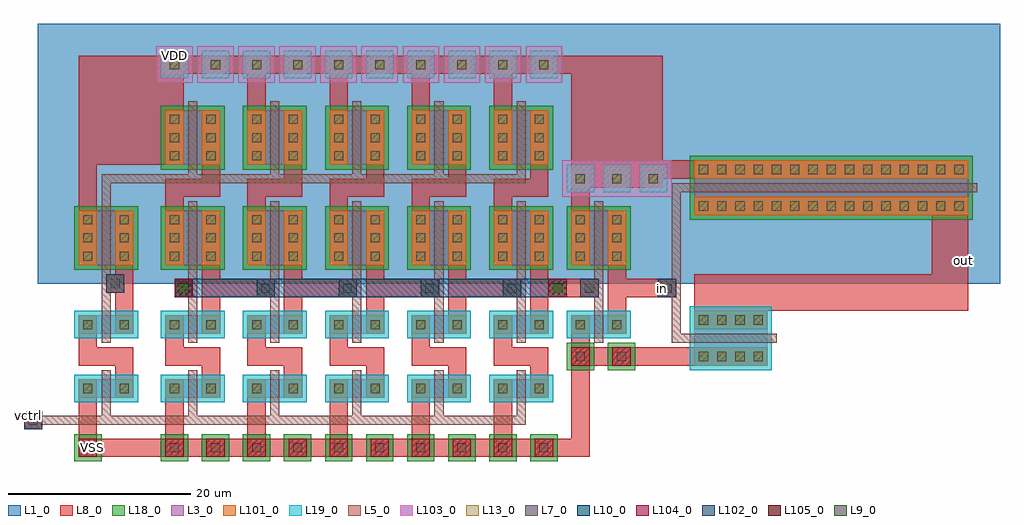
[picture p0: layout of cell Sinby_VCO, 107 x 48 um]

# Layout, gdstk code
import gdstk
lib = gdstk.Library(unit=1e-6, precision=1e-09)
def R(c, l, rs):  # rectangles x0, y0, x1, y1
    for r in rs: c.add(gdstk.rectangle(r[:2], r[2:], *l))
def A(c, l, x, y, w, h, nx, ny, dx, dy):  # array of equal rectangles
    R(c, l, [(x+i*dx, y+j*dy, x+i*dx+w, y+j*dy+h) for i in range(nx) for j in range(ny)])
def P(c, l, *ps):  # polygons
    for p in ps: c.add(gdstk.Polygon(p, *l))
L1_0 = (1, 0)
L3_0 = (3, 0)
L5_0 = (5, 0)
L7_0 = (7, 0)
L8_0 = (8, 0)
L9_0 = (9, 0)
L10_0 = (10, 0)
L13_0 = (13, 0)
L18_0 = (18, 0)
L19_0 = (19, 0)
L101_0 = (101, 0)
L102_0 = (102, 0)
L103_0 = (103, 0)
L104_0 = (104, 0)
L105_0 = (105, 0)

dcont = lib.new_cell('dcont')
R(dcont, L3_0, [(-1,-1,1,1)])
R(dcont, L7_0, [(-0.5,-0.5,0.5,0.5)])
R(dcont, L8_0, [(-1,-1,1,1)])
R(dcont, L13_0, [(-0.5,-0.5,0.5,0.5)])
R(dcont, L101_0, [(-1,-1,1,1)])

dcont1 = lib.new_cell('dcont1')
R(dcont1, L3_0, [(-1,-1,1,1)])
R(dcont1, L7_0, [(-0.5,-0.5,0.5,0.5)])
R(dcont1, L8_0, [(-1,-1,1,1)])
R(dcont1, L13_0, [(-0.5,-0.5,0.5,0.5)])
R(dcont1, L101_0, [(-1,-1,1,1)])

nsubcont = lib.new_cell('nsubcont')
R(nsubcont, L1_0, [(-2,-2,2,2)])
R(nsubcont, L19_0, [(-1.5,-1.5,1.5,1.5)])
R(nsubcont, L103_0, [(-2,-2,2,2)])
nsubcont.add(gdstk.Reference(dcont1, (0,0)))

psubcont = lib.new_cell('psubcont')
R(psubcont, L18_0, [(-1.5,-1.5,1.5,1.5)])
R(psubcont, L104_0, [(-1,-1,1,1)])
psubcont.add(gdstk.Reference(dcont1, (0,0)))

pcont = lib.new_cell('pcont')
R(pcont, L5_0, [(-1,-1,1,1)])
R(pcont, L7_0, [(-0.5,-0.5,0.5,0.5)])
R(pcont, L8_0, [(-1,-1,1,1)])
R(pcont, L13_0, [(-0.5,-0.5,0.5,0.5)])
R(pcont, L102_0, [(-1,-1,1,1)])

via = lib.new_cell('Via')
R(via, L8_0, [(-1,-1,1,1)])
R(via, L9_0, [(-0.5,-0.5,0.5,0.5)])
R(via, L10_0, [(-1,-1,1,1)])
R(via, L13_0, [(-0.5,-0.5,0.5,0.5)])
R(via, L105_0, [(-1,-1,1,1)])

sinby_vco = lib.new_cell('Sinby_VCO')
R(sinby_vco, L1_0, [(-15.5,-4,90,24.5)])
A(sinby_vco, L3_0, 0.5, -16.5, 2, 2, 5, 2, 9, 7)
A(sinby_vco, L3_0, 0.5, -2, 2, 6, 5, 2, 9, 11)
R(sinby_vco, L3_0, [(-9,-16.5,-7,-14.5), (56.5,-11,64.5,-9), (-9,-9.5,-7,-7.5), (45,-9.5,47,-7.5), (-9,-2,-7,4), (45,-2,47,4)])
P(sinby_vco, L3_0, [(56.5,5.5),(56.5,7.5),(86.5,7.5),(86.5,6.5),(86.5,5.5)])
A(sinby_vco, L8_0, 2.5, -7.5, 2, 1, 5, 1, 9, 0)
A(sinby_vco, L8_0, 2.5, -6.5, 2, 4.5, 5, 1, 9, 0)
A(sinby_vco, L8_0, -1.5, 4, 2, 2.5, 5, 1, 9, 0)
R(sinby_vco, L8_0, [(-7,-14.5,-5,-13.5), (11.5,-14.5,13.5,-13.5), (29.5,-14.5,31.5,-13.5), (43,-11,45,-9.5), (-7,-7.5,-5,-6.5), (47,-7.5,49,-6.5), (47,-6.5,49,-2), (43,4,45,6.5), (43,6.5,53,21), (-11,9,0.5,21)])
A(sinby_vco, L18_0, -2, -2.5, 7, 7, 5, 2, 9, 11)
R(sinby_vco, L18_0, [(-11.5,-2.5,-4.5,4.5), (42.5,-2.5,49.5,4.5), (56,3,87,10)])
A(sinby_vco, L19_0, -2, -17, 7, 3, 5, 2, 9, 7)
R(sinby_vco, L19_0, [(-11.5,-17,-4.5,-14), (56,-13.5,65,-6.5), (-11.5,-10,-4.5,-7), (42.5,-10,49.5,-7)])
sinby_vco.add(gdstk.FlexPath([(3.5,9),(3.5,6.5),(-1.5,6.5)], 2, ends="flush", simple_path=True, layer=8, datatype=0))  # L8_0
sinby_vco.add(gdstk.FlexPath([(-0.5,19),(-0.5,15)], 2, ends="flush", simple_path=True, layer=8, datatype=0))  # L8_0
sinby_vco.add(gdstk.FlexPath([(-10,4),(-10,20),(-5.5,20),(-2.5,20)], 2, ends="flush", simple_path=True, layer=8, datatype=0))  # L8_0
sinby_vco.add(gdstk.FlexPath([(-6,-2),(-6,-6.5)], 2, ends="flush", simple_path=True, layer=8, datatype=0))  # L8_0
sinby_vco.add(gdstk.FlexPath([(-10,-9.5),(-10,-12),(-6,-12),(-6,-13.5)], 2, ends="flush", simple_path=True, layer=8, datatype=0))  # L8_0
sinby_vco.add(gdstk.FlexPath([(-10,-16.5),(-10,-21)], 2, ends="flush", simple_path=True, layer=8, datatype=0))  # L8_0
sinby_vco.add(gdstk.FlexPath([(-0.5,-16.5),(-0.5,-21)], 2, ends="flush", simple_path=True, layer=8, datatype=0))  # L8_0
sinby_vco.add(gdstk.FlexPath([(-0.5,-9.5),(-0.5,-12),(3.5,-12),(3.5,-14.5)], 2, ends="flush", simple_path=True, layer=8, datatype=0))  # L8_0
sinby_vco.add(gdstk.FlexPath([(8.5,19),(8.5,15)], 2, ends="flush", simple_path=True, layer=8, datatype=0))  # L8_0
sinby_vco.add(gdstk.FlexPath([(17.5,19),(17.5,15)], 2, ends="flush", simple_path=True, layer=8, datatype=0))  # L8_0
sinby_vco.add(gdstk.FlexPath([(12.5,9),(12.5,6.5),(7.5,6.5)], 2, ends="flush", simple_path=True, layer=8, datatype=0))  # L8_0
sinby_vco.add(gdstk.FlexPath([(21.5,9),(21.5,6.5),(16.5,6.5)], 2, ends="flush", simple_path=True, layer=8, datatype=0))  # L8_0
sinby_vco.add(gdstk.FlexPath([(26.5,19),(26.5,15)], 2, ends="flush", simple_path=True, layer=8, datatype=0))  # L8_0
sinby_vco.add(gdstk.FlexPath([(35.5,19),(35.5,15)], 2, ends="flush", simple_path=True, layer=8, datatype=0))  # L8_0
sinby_vco.add(gdstk.FlexPath([(-0.5,20),(51,20),(52,19.5),(52,8.5)], 2, ends="flush", simple_path=True, layer=8, datatype=0))  # L8_0
sinby_vco.add(gdstk.FlexPath([(26.5,-9.5),(26.5,-12),(30.5,-12),(30.5,-13.5)], 2, ends="flush", simple_path=True, layer=8, datatype=0))  # L8_0
sinby_vco.add(gdstk.FlexPath([(26.5,-16.5),(26.5,-21)], 2, ends="flush", simple_path=True, layer=8, datatype=0))  # L8_0
sinby_vco.add(gdstk.FlexPath([(35.5,-16.5),(35.5,-21)], 2, ends="flush", simple_path=True, layer=8, datatype=0))  # L8_0
sinby_vco.add(gdstk.FlexPath([(35.5,-9.5),(35.5,-12),(39.5,-12),(39.5,-14.5)], 2, ends="flush", simple_path=True, layer=8, datatype=0))  # L8_0
sinby_vco.add(gdstk.FlexPath([(8.5,-9.5),(8.5,-12),(12.5,-12),(12.5,-13.5)], 2, ends="flush", simple_path=True, layer=8, datatype=0))  # L8_0
sinby_vco.add(gdstk.FlexPath([(8.5,-16.5),(8.5,-21)], 2, ends="flush", simple_path=True, layer=8, datatype=0))  # L8_0
sinby_vco.add(gdstk.FlexPath([(17.5,-16.5),(17.5,-21)], 2, ends="flush", simple_path=True, layer=8, datatype=0))  # L8_0
sinby_vco.add(gdstk.FlexPath([(17.5,-9.5),(17.5,-12),(21.5,-12),(21.5,-14.5)], 2, ends="flush", simple_path=True, layer=8, datatype=0))  # L8_0
sinby_vco.add(gdstk.FlexPath([(-9,-22),(44,-22),(44,-12),(53.5,-12),(53.5,-12),(53.5,-12)], 2, ends="flush", simple_path=True, layer=8, datatype=0))  # L8_0
sinby_vco.add(gdstk.FlexPath([(30.5,9),(30.5,6.5),(25.5,6.5)], 2, ends="flush", simple_path=True, layer=8, datatype=0))  # L8_0
sinby_vco.add(gdstk.FlexPath([(39.5,9),(39.5,6.5),(34.5,6.5)], 2, ends="flush", simple_path=True, layer=8, datatype=0))  # L8_0
sinby_vco.add(gdstk.FlexPath([(49,-4.5),(52.5,-4.5)], 2, ends="flush", simple_path=True, layer=8, datatype=0))  # L8_0
sinby_vco.add(gdstk.FlexPath([(56.5,8.5),(51,8.5)], 2, ends="flush", simple_path=True, layer=8, datatype=0))  # L8_0
sinby_vco.add(gdstk.FlexPath([(53.5,-12),(56.5,-12)], 2, ends="flush", simple_path=True, layer=8, datatype=0))  # L8_0
sinby_vco.add(gdstk.FlexPath([(84.5,3.5),(84.5,-5),(56.5,-5)], 4, ends="flush", simple_path=True, layer=8, datatype=0))  # L8_0
sinby_vco.add(gdstk.FlexPath([(4.5,-4.5),(8.5,-4.5)], 2, ends="flush", simple_path=True, layer=8, datatype=0))  # L8_0
sinby_vco.add(gdstk.FlexPath([(13.5,-4.5),(17.5,-4.5)], 2, ends="flush", simple_path=True, layer=8, datatype=0))  # L8_0
sinby_vco.add(gdstk.FlexPath([(22.5,-4.5),(26.5,-4.5)], 2, ends="flush", simple_path=True, layer=8, datatype=0))  # L8_0
sinby_vco.add(gdstk.FlexPath([(31.5,-4.5),(35.5,-4.5)], 2, ends="flush", simple_path=True, layer=8, datatype=0))  # L8_0
sinby_vco.add(gdstk.FlexPath([(42.5,-4.5),(44,-4.5)], 2, ends="flush", simple_path=True, layer=8, datatype=0))  # L8_0
sinby_vco.add(gdstk.FlexPath([(1.5,-4.5),(40.5,-4.5),(40.5,-4.5)], 2, ends="flush", simple_path=True, layer=10, datatype=0))  # L10_0
sinby_vco.add(gdstk.FlexPath([(1.5,16),(1.5,8)], 1, ends="flush", simple_path=True, layer=5, datatype=0))  # L5_0
sinby_vco.add(gdstk.FlexPath([(-8,5),(-8,-3)], 1, ends="flush", simple_path=True, layer=5, datatype=0))  # L5_0
sinby_vco.add(gdstk.FlexPath([(-8,5),(-8,7.5),(38,7.5)], 1, ends="flush", simple_path=True, layer=5, datatype=0))  # L5_0
sinby_vco.add(gdstk.FlexPath([(-8,-3),(-8,-10.5)], 1, ends="flush", simple_path=True, layer=5, datatype=0))  # L5_0
sinby_vco.add(gdstk.FlexPath([(-8,-13.5),(-8,-19),(-15.5,-19)], 1, ends="flush", simple_path=True, layer=5, datatype=0))  # L5_0
sinby_vco.add(gdstk.FlexPath([(-7.5,-19),(1.5,-19),(1.5,-13.5)], 1, ends="flush", simple_path=True, layer=5, datatype=0))  # L5_0
sinby_vco.add(gdstk.FlexPath([(10.5,16),(10.5,8)], 1, ends="flush", simple_path=True, layer=5, datatype=0))  # L5_0
sinby_vco.add(gdstk.FlexPath([(19.5,16),(19.5,8)], 1, ends="flush", simple_path=True, layer=5, datatype=0))  # L5_0
sinby_vco.add(gdstk.FlexPath([(28.5,16),(28.5,8)], 1, ends="flush", simple_path=True, layer=5, datatype=0))  # L5_0
sinby_vco.add(gdstk.FlexPath([(37.5,16),(37.5,8)], 1, ends="flush", simple_path=True, layer=5, datatype=0))  # L5_0
sinby_vco.add(gdstk.FlexPath([(29,-19),(37.5,-19),(37.5,-13.5)], 1, ends="flush", simple_path=True, layer=5, datatype=0))  # L5_0
sinby_vco.add(gdstk.FlexPath([(11,-19),(19.5,-19),(19.5,-13.5)], 1, ends="flush", simple_path=True, layer=5, datatype=0))  # L5_0
sinby_vco.add(gdstk.FlexPath([(10.5,-13.5),(10.5,-19),(2,-19)], 1, ends="flush", simple_path=True, layer=5, datatype=0))  # L5_0
sinby_vco.add(gdstk.FlexPath([(28.5,-13.5),(28.5,-19),(20,-19)], 1, ends="flush", simple_path=True, layer=5, datatype=0))  # L5_0
sinby_vco.add(gdstk.FlexPath([(87.5,6.5),(54.5,6.5),(54.5,-6.5)], 1, ends="flush", simple_path=True, layer=5, datatype=0))  # L5_0
sinby_vco.add(gdstk.FlexPath([(54.5,-6.5),(54.5,-10),(65.5,-10)], 1, ends="flush", simple_path=True, layer=5, datatype=0))  # L5_0
sinby_vco.add(gdstk.FlexPath([(10.5,5),(10.5,-3)], 1, ends="flush", simple_path=True, layer=5, datatype=0))  # L5_0
sinby_vco.add(gdstk.FlexPath([(10.5,-6.5),(10.5,-10.5)], 1, ends="flush", simple_path=True, layer=5, datatype=0))  # L5_0
sinby_vco.add(gdstk.FlexPath([(10.5,-3),(10.5,-6.5)], 1, ends="flush", simple_path=True, layer=5, datatype=0))  # L5_0
sinby_vco.add(gdstk.FlexPath([(19.5,-3),(19.5,-6.5)], 1, ends="flush", simple_path=True, layer=5, datatype=0))  # L5_0
sinby_vco.add(gdstk.FlexPath([(19.5,-6.5),(19.5,-10.5)], 1, ends="flush", simple_path=True, layer=5, datatype=0))  # L5_0
sinby_vco.add(gdstk.FlexPath([(19.5,5),(19.5,-3)], 1, ends="flush", simple_path=True, layer=5, datatype=0))  # L5_0
sinby_vco.add(gdstk.FlexPath([(28.5,-3),(28.5,-6.5)], 1, ends="flush", simple_path=True, layer=5, datatype=0))  # L5_0
sinby_vco.add(gdstk.FlexPath([(28.5,-6.5),(28.5,-10.5)], 1, ends="flush", simple_path=True, layer=5, datatype=0))  # L5_0
sinby_vco.add(gdstk.FlexPath([(28.5,5),(28.5,-3)], 1, ends="flush", simple_path=True, layer=5, datatype=0))  # L5_0
sinby_vco.add(gdstk.FlexPath([(37.5,-3),(37.5,-6.5)], 1, ends="flush", simple_path=True, layer=5, datatype=0))  # L5_0
sinby_vco.add(gdstk.FlexPath([(37.5,-6.5),(37.5,-10.5)], 1, ends="flush", simple_path=True, layer=5, datatype=0))  # L5_0
sinby_vco.add(gdstk.FlexPath([(37.5,5),(37.5,-3)], 1, ends="flush", simple_path=True, layer=5, datatype=0))  # L5_0
sinby_vco.add(gdstk.FlexPath([(46,5),(46,-3)], 1, ends="flush", simple_path=True, layer=5, datatype=0))  # L5_0
sinby_vco.add(gdstk.FlexPath([(46,-6.5),(46,-10.5)], 1, ends="flush", simple_path=True, layer=5, datatype=0))  # L5_0
sinby_vco.add(gdstk.FlexPath([(46,-3),(46,-6.5)], 1, ends="flush", simple_path=True, layer=5, datatype=0))  # L5_0
sinby_vco.add(gdstk.FlexPath([(1.5,5),(1.5,-3)], 1, ends="flush", simple_path=True, layer=5, datatype=0))  # L5_0
sinby_vco.add(gdstk.FlexPath([(1.5,-6.5),(1.5,-10.5)], 1, ends="flush", simple_path=True, layer=5, datatype=0))  # L5_0
sinby_vco.add(gdstk.FlexPath([(1.5,-3),(1.5,-6.5)], 1, ends="flush", simple_path=True, layer=5, datatype=0))  # L5_0
sinby_vco.add(gdstk.Reference(dcont, (48,-1)))
sinby_vco.add(gdstk.Reference(dcont, (44,-1)))
sinby_vco.add(gdstk.Reference(nsubcont, (35.5,20)))
sinby_vco.add(gdstk.Reference(dcont, (8.5,-1)))
sinby_vco.add(gdstk.Reference(dcont, (12.5,-1)))
sinby_vco.add(gdstk.Reference(dcont, (21.5,-1)))
sinby_vco.add(gdstk.Reference(dcont, (17.5,-1)))
sinby_vco.add(gdstk.Reference(dcont, (30.5,-1)))
sinby_vco.add(gdstk.Reference(dcont, (26.5,-1)))
sinby_vco.add(gdstk.Reference(dcont, (39.5,-1)))
sinby_vco.add(gdstk.Reference(dcont, (35.5,-1)))
sinby_vco.add(gdstk.Reference(dcont, (35.5,1)))
sinby_vco.add(gdstk.Reference(dcont, (35.5,3)))
sinby_vco.add(gdstk.Reference(psubcont, (35.5,-22)))
sinby_vco.add(gdstk.Reference(dcont, (35.5,-8.5)))
sinby_vco.add(gdstk.Reference(dcont, (3.5,-1)))
sinby_vco.add(gdstk.Reference(dcont, (-0.5,-1)))
sinby_vco.add(gdstk.Reference(dcont, (-6,-1)))
sinby_vco.add(gdstk.Reference(dcont, (-10,-1)))
sinby_vco.add(gdstk.Reference(dcont, (35.5,14)))
sinby_vco.add(gdstk.Reference(dcont, (35.5,12)))
sinby_vco.add(gdstk.Reference(dcont, (35.5,10)))
sinby_vco.add(gdstk.Reference(dcont, (35.5,-15.5)))
sinby_vco.add(gdstk.Reference(dcont, (71.5,4.5)))
sinby_vco.add(gdstk.Reference(dcont, (73.5,8.5)))
sinby_vco.add(gdstk.Reference(dcont, (73.5,4.5)))
sinby_vco.add(gdstk.Reference(dcont, (75.5,8.5)))
sinby_vco.add(gdstk.Reference(dcont, (75.5,4.5)))
sinby_vco.add(gdstk.Reference(dcont, (77.5,8.5)))
sinby_vco.add(gdstk.Reference(dcont, (77.5,4.5)))
sinby_vco.add(gdstk.Reference(dcont, (79.5,8.5)))
sinby_vco.add(gdstk.Reference(dcont, (79.5,4.5)))
sinby_vco.add(gdstk.Reference(dcont, (81.5,8.5)))
sinby_vco.add(gdstk.Reference(dcont, (81.5,4.5)))
sinby_vco.add(gdstk.Reference(dcont, (83.5,8.5)))
sinby_vco.add(gdstk.Reference(dcont, (83.5,4.5)))
sinby_vco.add(gdstk.Reference(dcont, (85.5,8.5)))
sinby_vco.add(gdstk.Reference(dcont, (85.5,4.5)))
sinby_vco.add(gdstk.Reference(dcont, (57.5,4.5)))
sinby_vco.add(gdstk.Reference(dcont, (48,3)))
sinby_vco.add(gdstk.Reference(nsubcont, (40,20)))
sinby_vco.add(gdstk.Reference(dcont, (44,3)))
sinby_vco.add(gdstk.Reference(dcont, (44,1)))
sinby_vco.add(gdstk.Reference(dcont, (48,1)))
sinby_vco.add(gdstk.Reference(nsubcont, (48,7.5)))
sinby_vco.add(gdstk.Reference(nsubcont, (44,7.5)))
sinby_vco.add(gdstk.Reference(dcont, (63.5,4.5)))
sinby_vco.add(gdstk.Reference(dcont, (59.5,4.5)))
sinby_vco.add(gdstk.Reference(dcont, (39.5,1)))
sinby_vco.add(gdstk.Reference(dcont, (39.5,3)))
sinby_vco.add(gdstk.Reference(dcont, (67.5,8.5)))
sinby_vco.add(gdstk.Reference(dcont, (65.5,8.5)))
sinby_vco.add(gdstk.Reference(dcont, (63.5,8.5)))
sinby_vco.add(gdstk.Reference(dcont, (65.5,4.5)))
sinby_vco.add(gdstk.Reference(dcont, (61.5,4.5)))
sinby_vco.add(gdstk.Reference(dcont, (61.5,8.5)))
sinby_vco.add(gdstk.Reference(dcont, (59.5,8.5)))
sinby_vco.add(gdstk.Reference(dcont, (67.5,4.5)))
sinby_vco.add(gdstk.Reference(dcont, (57.5,8.5)))
sinby_vco.add(gdstk.Reference(nsubcont, (52,7.5)))
sinby_vco.add(gdstk.Reference(dcont, (69.5,8.5)))
sinby_vco.add(gdstk.Reference(dcont, (39.5,12)))
sinby_vco.add(gdstk.Reference(dcont, (39.5,14)))
sinby_vco.add(gdstk.Reference(dcont, (69.5,4.5)))
sinby_vco.add(gdstk.Reference(dcont, (39.5,10)))
sinby_vco.add(gdstk.Reference(dcont, (71.5,8.5)))
sinby_vco.add(gdstk.Reference(nsubcont, (17.5,20)))
sinby_vco.add(gdstk.Reference(nsubcont, (8.5,20)))
sinby_vco.add(gdstk.Reference(dcont, (21.5,1)))
sinby_vco.add(gdstk.Reference(nsubcont, (-0.5,20)))
sinby_vco.add(gdstk.Reference(nsubcont, (31,20)))
sinby_vco.add(gdstk.Reference(nsubcont, (22,20)))
sinby_vco.add(gdstk.Reference(dcont, (21.5,3)))
sinby_vco.add(gdstk.Reference(nsubcont, (13,20)))
sinby_vco.add(gdstk.Reference(dcont, (-0.5,3)))
sinby_vco.add(gdstk.Reference(dcont, (17.5,1)))
sinby_vco.add(gdstk.Reference(dcont, (17.5,3)))
sinby_vco.add(gdstk.Reference(dcont, (-0.5,1)))
sinby_vco.add(gdstk.Reference(dcont, (3.5,1)))
sinby_vco.add(gdstk.Reference(dcont, (3.5,3)))
sinby_vco.add(gdstk.Reference(dcont, (-0.5,14)))
sinby_vco.add(gdstk.Reference(dcont, (3.5,10)))
sinby_vco.add(gdstk.Reference(dcont, (-0.5,10)))
sinby_vco.add(gdstk.Reference(dcont, (-0.5,12)))
sinby_vco.add(gdstk.Reference(dcont, (3.5,12)))
sinby_vco.add(gdstk.Reference(dcont, (3.5,14)))
sinby_vco.add(gdstk.Reference(nsubcont, (4,20)))
sinby_vco.add(gdstk.Reference(dcont, (-10,3)))
sinby_vco.add(gdstk.Reference(dcont, (8.5,3)))
sinby_vco.add(gdstk.Reference(dcont, (30.5,1)))
sinby_vco.add(gdstk.Reference(dcont, (-10,1)))
sinby_vco.add(gdstk.Reference(dcont, (-6,1)))
sinby_vco.add(gdstk.Reference(dcont, (-6,3)))
sinby_vco.add(gdstk.Reference(dcont, (8.5,14)))
sinby_vco.add(gdstk.Reference(dcont, (12.5,10)))
sinby_vco.add(gdstk.Reference(dcont, (8.5,10)))
sinby_vco.add(gdstk.Reference(dcont, (8.5,12)))
sinby_vco.add(gdstk.Reference(dcont, (12.5,12)))
sinby_vco.add(gdstk.Reference(dcont, (12.5,14)))
sinby_vco.add(gdstk.Reference(dcont, (17.5,14)))
sinby_vco.add(gdstk.Reference(dcont, (17.5,12)))
sinby_vco.add(gdstk.Reference(dcont, (21.5,12)))
sinby_vco.add(gdstk.Reference(dcont, (21.5,14)))
sinby_vco.add(gdstk.Reference(dcont, (17.5,10)))
sinby_vco.add(gdstk.Reference(dcont, (21.5,10)))
sinby_vco.add(gdstk.Reference(dcont, (26.5,14)))
sinby_vco.add(gdstk.Reference(dcont, (30.5,10)))
sinby_vco.add(gdstk.Reference(dcont, (26.5,10)))
sinby_vco.add(gdstk.Reference(dcont, (26.5,12)))
sinby_vco.add(gdstk.Reference(dcont, (30.5,12)))
sinby_vco.add(gdstk.Reference(dcont, (30.5,14)))
sinby_vco.add(gdstk.Reference(dcont, (30.5,3)))
sinby_vco.add(gdstk.Reference(dcont, (8.5,1)))
sinby_vco.add(gdstk.Reference(dcont, (26.5,1)))
sinby_vco.add(gdstk.Reference(dcont, (26.5,3)))
sinby_vco.add(gdstk.Reference(nsubcont, (26.5,20)))
sinby_vco.add(gdstk.Reference(dcont, (12.5,3)))
sinby_vco.add(gdstk.Reference(dcont, (12.5,1)))
sinby_vco.add(gdstk.Reference(psubcont, (-10,-22)))
sinby_vco.add(gdstk.Reference(psubcont, (-0.5,-22)))
sinby_vco.add(gdstk.Reference(dcont, (3.5,-15.5)))
sinby_vco.add(gdstk.Reference(dcont, (-0.5,-15.5)))
sinby_vco.add(gdstk.Reference(dcont, (8.5,-8.5)))
sinby_vco.add(gdstk.Reference(psubcont, (8.5,-22)))
sinby_vco.add(gdstk.Reference(dcont, (30.5,-8.5)))
sinby_vco.add(gdstk.Reference(pcont, (27.5,-4.5)))
sinby_vco.add(gdstk.Reference(psubcont, (26.5,-22)))
sinby_vco.add(gdstk.Reference(dcont, (26.5,-8.5)))
sinby_vco.add(gdstk.Reference(dcont, (12.5,-8.5)))
sinby_vco.add(gdstk.Reference(dcont, (21.5,-8.5)))
sinby_vco.add(gdstk.Reference(psubcont, (4,-22)))
sinby_vco.add(gdstk.Reference(psubcont, (13,-22)))
sinby_vco.add(gdstk.Reference(psubcont, (22,-22)))
sinby_vco.add(gdstk.Reference(psubcont, (31,-22)))
sinby_vco.add(gdstk.Reference(pcont, (18.5,-4.5)))
sinby_vco.add(gdstk.Reference(psubcont, (17.5,-22)))
sinby_vco.add(gdstk.Reference(dcont, (17.5,-8.5)))
sinby_vco.add(gdstk.Reference(dcont, (3.5,-8.5)))
sinby_vco.add(gdstk.Reference(dcont, (-0.5,-8.5)))
sinby_vco.add(gdstk.Reference(pcont, (0.5,-4.5)))
sinby_vco.add(gdstk.Reference(dcont, (-6,-8.5)))
sinby_vco.add(gdstk.Reference(dcont, (-10,-8.5)))
sinby_vco.add(gdstk.Reference(pcont, (9.5,-4.5)))
sinby_vco.add(gdstk.Reference(pcont, (-7,-4)))
sinby_vco.add(gdstk.Reference(dcont, (-6,-15.5)))
sinby_vco.add(gdstk.Reference(dcont, (-10,-15.5)))
sinby_vco.add(gdstk.Reference(via, (0.5,-4.5)))
sinby_vco.add(gdstk.Reference(dcont, (26.5,-15.5)))
sinby_vco.add(gdstk.Reference(dcont, (30.5,-15.5)))
sinby_vco.add(gdstk.Reference(dcont, (17.5,-15.5)))
sinby_vco.add(gdstk.Reference(dcont, (21.5,-15.5)))
sinby_vco.add(gdstk.Reference(dcont, (8.5,-15.5)))
sinby_vco.add(gdstk.Reference(dcont, (12.5,-15.5)))
sinby_vco.add(gdstk.Reference(pcont, (-16,-19)))
sinby_vco.add(gdstk.Reference(psubcont, (48.5,-12)))
sinby_vco.add(gdstk.Reference(dcont, (59.5,-8)))
sinby_vco.add(gdstk.Reference(dcont, (59.5,-12)))
sinby_vco.add(gdstk.Reference(dcont, (57.5,-12)))
sinby_vco.add(gdstk.Reference(dcont, (57.5,-8)))
sinby_vco.add(gdstk.Reference(dcont, (63.5,-8)))
sinby_vco.add(gdstk.Reference(dcont, (63.5,-12)))
sinby_vco.add(gdstk.Reference(dcont, (61.5,-12)))
sinby_vco.add(gdstk.Reference(dcont, (61.5,-8)))
sinby_vco.add(gdstk.Reference(dcont, (48,-8.5)))
sinby_vco.add(gdstk.Reference(via, (41.5,-4.5)))
sinby_vco.add(gdstk.Reference(dcont, (39.5,-15.5)))
sinby_vco.add(gdstk.Reference(psubcont, (40,-22)))
sinby_vco.add(gdstk.Reference(dcont, (39.5,-8.5)))
sinby_vco.add(gdstk.Reference(pcont, (36.5,-4.5)))
sinby_vco.add(gdstk.Reference(pcont, (53.5,-4.5)))
sinby_vco.add(gdstk.Reference(dcont, (44,-8.5)))
sinby_vco.add(gdstk.Reference(psubcont, (44,-12)))
sinby_vco.add(gdstk.Reference(pcont, (45,-4.5)))
sinby_vco.add(gdstk.Label('VDD', (-0.5,21), layer=8, texttype=0))
sinby_vco.add(gdstk.Label('VSS', (-9.5,-22), layer=8, texttype=0))
sinby_vco.add(gdstk.Label('vctrl', (-16.5,-18.5), layer=8, texttype=0))
sinby_vco.add(gdstk.Label('in', (53,-4.5), layer=8, texttype=0))
sinby_vco.add(gdstk.Label('out', (86,-1.5), layer=8, texttype=0))

lib.write_gds('Sinby_VCO.gds')
